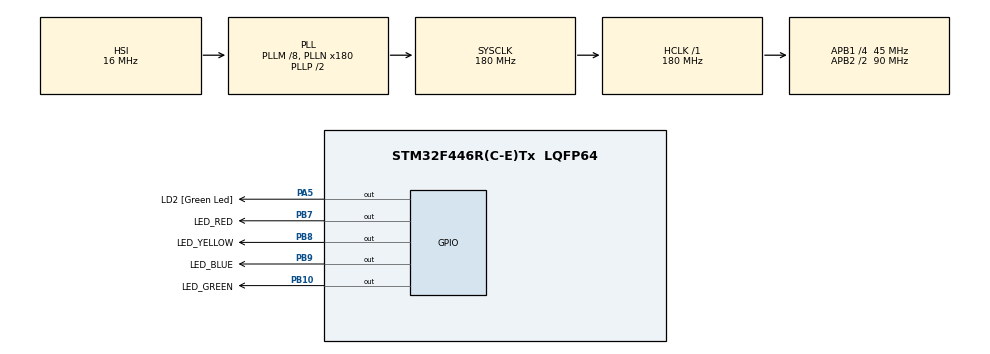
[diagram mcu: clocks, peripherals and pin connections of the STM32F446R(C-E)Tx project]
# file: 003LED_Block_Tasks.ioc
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Mcu.Family=STM32F4
VP_SYS_VS_tim6.Mode=TIM6
PH0-OSC_IN.Signal=RCC_OSC_IN
RCC.CortexFreq_Value=180000000
PB9.GPIO_Label=LED_BLUE
NVIC.TIM6_DAC_IRQn=true\:0\:0\:false\:false\:true\:false\:true
PA14.GPIO_Label=TCK
RCC.APB1CLKDivider=RCC_HCLK_DIV4
PC14-OSC32_IN.Signal=RCC_OSC32_IN
RCC.SYSCLKSource=RCC_SYSCLKSOURCE_PLLCLK
ProjectManager.StackSize=0x400
PA13.Signal=SYS_JTMS-SWDIO
PB8.GPIO_Label=LED_YELLOW
ProjectManager.TargetToolchain=STM32CubeIDE
PB10.GPIO_Label=LED_GREEN
RCC.HCLKFreq_Value=180000000
RCC.APB2TimFreq_Value=180000000
RCC.USBFreq_Value=180000000
RCC.LSE_VALUE=32768
PC15-OSC32_OUT.Signal=RCC_OSC32_OUT
RCC.AHBFreq_Value=180000000
PB10.Signal=GPIO_Output
PA5.Signal=GPIO_Output
RCC.HSE_VALUE=8000000
board=NUCLEO-F446RE
RCC.VCOOutputFreq_Value=360000000
RCC.APB2Freq_Value=90000000
PH1-OSC_OUT.Signal=RCC_OSC_OUT
PB7.Signal=GPIO_Output
Mcu.Name=STM32F446R(C-E)Tx
PA2.Signal=USART2_TX
PA13.GPIO_Label=TMS
RCC.FLatency-AdvancedSettings=FLASH_LATENCY_5
PB7.GPIO_Label=LED_RED
PB3.Signal=SYS_JTDO-SWO
RCC.SYSCLKFreq_VALUE=180000000
Mcu.Package=LQFP64
PB9.Signal=GPIO_Output
NVIC.TimeBase=TIM6_DAC_IRQn
PA5.GPIO_Label=LD2 [Green Led]
PA2.GPIO_Label=USART_TX
NVIC.TimeBaseIP=TIM6
PA14.Signal=SYS_JTCK-SWCLK
ProjectManager.HeapSize=0x200
RCC.HSI_VALUE=16000000
NVIC.PriorityGroup=NVIC_PRIORITYGROUP_4
RCC.APB2CLKDivider=RCC_HCLK_DIV2
RCC.PLLM=8
RCC.PLLN=180
RCC.APB1TimFreq_Value=90000000
PB8.Signal=GPIO_Output
RCC.APB1Freq_Value=45000000
PA3.GPIO_Label=USART_RX
PA3.Signal=USART2_RX
PB3.GPIO_Label=SWO

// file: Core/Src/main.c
/* USER CODE BEGIN Header */
/**
  ******************************************************************************
  * @file           : main.c
  * @brief          : Main program body
  ******************************************************************************
  * @attention
  *
  * <h2><center>&copy; Copyright (c) 2021 STMicroelectronics.
  * All rights reserved.</center></h2>
  *
  * This software component is licensed by ST under BSD 3-Clause license,
  * the "License"; You may not use this file except in compliance with the
  * License. You may obtain a copy of the License at:
  *                        opensource.org/licenses/BSD-3-Clause
  *
  ******************************************************************************
  */
/* USER CODE END Header */
#include "main.h"

/* USER CODE BEGIN Includes */
#include "FreeRTOS.h"
#include "task.h"
/* USER CODE END Includes */

/* USER CODE BEGIN PV */
#define DWT_CTRL    (*(volatile uint32_t*)0xE0001000)
/* USER CODE END PV */

void SystemClock_Config(void);
static void MX_GPIO_Init(void);
/* USER CODE BEGIN PFP */
static void led_red_handler(void* parameters);
static void led_yellow_handler(void* parameters);
static void led_blue_handler(void* parameters);
static void led_green_handler(void* parameters);

extern void SEGGER_UART_init(uint32_t);
/* USER CODE END PFP */

int main(void)
{
  /* USER CODE BEGIN 1 */
	TaskHandle_t ledr_task_handle;
	TaskHandle_t ledy_task_handle;
	TaskHandle_t ledb_task_handle;
	TaskHandle_t ledg_task_handle;
	BaseType_t status;
  /* USER CODE END 1 */

  /* MCU Configuration--------------------------------------------------------*/

  /* Reset of all peripherals, Initializes the Flash interface and the Systick. */
  HAL_Init();

  /* Configure the system clock */
  SystemClock_Config();

  /* Initialize all configured peripherals */
  MX_GPIO_Init();

  /* USER CODE BEGIN 2 */
  SEGGER_UART_init(500000);

  //CYCLCNT enable
  DWT_CTRL |= ( 1 << 0);

  SEGGER_SYSVIEW_Conf();
  //SEGGER_SYSVIEW_Start(); //comment out if using UART based continuous recording

  //Create Task 1: Red LED
  status = xTaskCreate(led_red_handler, "LED_RED_TASK", 200, NULL, 2, &ledr_task_handle);
  configASSERT(status == pdPASS);

  //Create Task 2: Yellow LED
  status = xTaskCreate(led_yellow_handler, "LED_YELLOW_TASK", 200, NULL, 2, &ledy_task_handle);
  configASSERT(status == pdPASS);

  //Create Task 3: Blue LED
  status = xTaskCreate(led_blue_handler, "LED_BLUE_TASK", 200, NULL, 2, &ledb_task_handle);
  configASSERT(status == pdPASS);

  //Create Task 4: Green LED
  status = xTaskCreate(led_green_handler, "LED_GREEN_TASK", 200, NULL, 2, &ledg_task_handle);
  configASSERT(status == pdPASS);

  //start the freeRTOS scheduler
  vTaskStartScheduler();

  /* USER CODE END 2 */

  /* Infinite loop */
  while (1)
  {

  }
}

void SystemClock_Config(void)
{
  RCC_OscInitTypeDef RCC_OscInitStruct = {0};
  RCC_ClkInitTypeDef RCC_ClkInitStruct = {0};

  /** Configure the main internal regulator output voltage
  */
  __HAL_RCC_PWR_CLK_ENABLE();
  __HAL_PWR_VOLTAGESCALING_CONFIG(PWR_REGULATOR_VOLTAGE_SCALE1);
  /** Initializes the RCC Oscillators according to the specified parameters
  * in the RCC_OscInitTypeDef structure.
  */
  RCC_OscInitStruct.OscillatorType = RCC_OSCILLATORTYPE_HSI;
  RCC_OscInitStruct.HSIState = RCC_HSI_ON;
  RCC_OscInitStruct.HSICalibrationValue = RCC_HSICALIBRATION_DEFAULT;
  RCC_OscInitStruct.PLL.PLLState = RCC_PLL_ON;
  RCC_OscInitStruct.PLL.PLLSource = RCC_PLLSOURCE_HSI;
  RCC_OscInitStruct.PLL.PLLM = 8;
  RCC_OscInitStruct.PLL.PLLN = 180;
  RCC_OscInitStruct.PLL.PLLP = RCC_PLLP_DIV2;
  RCC_OscInitStruct.PLL.PLLQ = 2;
  RCC_OscInitStruct.PLL.PLLR = 2;
  if (HAL_RCC_OscConfig(&RCC_OscInitStruct) != HAL_OK)
  {
    Error_Handler();
  }
  /** Activate the Over-Drive mode
  */
  if (HAL_PWREx_EnableOverDrive() != HAL_OK)
  {
    Error_Handler();
  }
  /** Initializes the CPU, AHB and APB buses clocks
  */
  RCC_ClkInitStruct.ClockType = RCC_CLOCKTYPE_HCLK|RCC_CLOCKTYPE_SYSCLK
                              |RCC_CLOCKTYPE_PCLK1|RCC_CLOCKTYPE_PCLK2;
  RCC_ClkInitStruct.SYSCLKSource = RCC_SYSCLKSOURCE_PLLCLK;
  RCC_ClkInitStruct.AHBCLKDivider = RCC_SYSCLK_DIV1;
  RCC_ClkInitStruct.APB1CLKDivider = RCC_HCLK_DIV4;
  RCC_ClkInitStruct.APB2CLKDivider = RCC_HCLK_DIV2;

  if (HAL_RCC_ClockConfig(&RCC_ClkInitStruct, FLASH_LATENCY_5) != HAL_OK)
  {
    Error_Handler();
  }
}

static void MX_GPIO_Init(void)
{
  GPIO_InitTypeDef GPIO_InitStruct = {0};

  /* GPIO Ports Clock Enable */
  __HAL_RCC_GPIOC_CLK_ENABLE();
  __HAL_RCC_GPIOH_CLK_ENABLE();
  __HAL_RCC_GPIOA_CLK_ENABLE();
  __HAL_RCC_GPIOB_CLK_ENABLE();

  /*Configure GPIO pin Output Level */
  HAL_GPIO_WritePin(LD2_GPIO_Port, LD2_Pin, GPIO_PIN_RESET);

  /*Configure GPIO pin Output Level */
  HAL_GPIO_WritePin(GPIOB, LED_GREEN_Pin|LED_RED_Pin|LED_YELLOW_Pin|LED_BLUE_Pin, GPIO_PIN_RESET);

  /*Configure GPIO pins : USART_TX_Pin USART_RX_Pin */
  GPIO_InitStruct.Pin = USART_TX_Pin|USART_RX_Pin;
  GPIO_InitStruct.Mode = GPIO_MODE_AF_PP;
  GPIO_InitStruct.Pull = GPIO_NOPULL;
  GPIO_InitStruct.Speed = GPIO_SPEED_FREQ_VERY_HIGH;
  GPIO_InitStruct.Alternate = GPIO_AF7_USART2;
  HAL_GPIO_Init(GPIOA, &GPIO_InitStruct);

  /*Configure GPIO pin : LD2_Pin */
  GPIO_InitStruct.Pin = LD2_Pin;
  GPIO_InitStruct.Mode = GPIO_MODE_OUTPUT_PP;
  GPIO_InitStruct.Pull = GPIO_NOPULL;
  GPIO_InitStruct.Speed = GPIO_SPEED_FREQ_LOW;
  HAL_GPIO_Init(LD2_GPIO_Port, &GPIO_InitStruct);

  /*Configure GPIO pins : LED_GREEN_Pin LED_RED_Pin LED_YELLOW_Pin LED_BLUE_Pin */
  GPIO_InitStruct.Pin = LED_GREEN_Pin|LED_RED_Pin|LED_YELLOW_Pin|LED_BLUE_Pin;
  GPIO_InitStruct.Mode = GPIO_MODE_OUTPUT_PP;
  GPIO_InitStruct.Pull = GPIO_NOPULL;
  GPIO_InitStruct.Speed = GPIO_SPEED_FREQ_LOW;
  HAL_GPIO_Init(GPIOB, &GPIO_InitStruct);

}

/* USER CODE BEGIN 4 */
static void led_red_handler(void* parameters) {

	while(1) {
		SEGGER_SYSVIEW_PrintfTarget("Toggling Red LED");
		HAL_GPIO_TogglePin(LED_RED_GPIO_Port, LED_RED_Pin);
		//HAL_Delay(1000);
		vTaskDelay(pdMS_TO_TICKS(1000));
	}
}

static void led_yellow_handler(void* parameters) {

	while(1) {
		SEGGER_SYSVIEW_PrintfTarget("Toggling Yellow LED");
		HAL_GPIO_TogglePin(LED_YELLOW_GPIO_Port, LED_YELLOW_Pin);
		//HAL_Delay(800);
		vTaskDelay(pdMS_TO_TICKS(800));
	}
}

static void led_blue_handler(void* parameters) {

	while(1) {
		SEGGER_SYSVIEW_PrintfTarget("Toggling Blue LED");
		HAL_GPIO_TogglePin(LED_BLUE_GPIO_Port, LED_BLUE_Pin);
		//HAL_Delay(600);
		vTaskDelay(pdMS_TO_TICKS(600));
	}
}

static void led_green_handler(void* parameters) {

	while(1) {
		SEGGER_SYSVIEW_PrintfTarget("Toggling Green LED");
		HAL_GPIO_TogglePin(LED_GREEN_GPIO_Port, LED_GREEN_Pin);
		//HAL_Delay(400);
		vTaskDelay(pdMS_TO_TICKS(400));
	}
}

void vApplicationIdleHook( void )
{
	HAL_PWR_EnterSLEEPMode(PWR_MAINREGULATOR_ON, PWR_SLEEPENTRY_WFI);

}
/* USER CODE END 4 */

 /**
  * @brief  Period elapsed callback in non blocking mode
  * @note   This function is called  when TIM6 interrupt took place, inside
  * HAL_TIM_IRQHandler(). It makes a direct call to HAL_IncTick() to increment
  * a global variable "uwTick" used as application time base.
  * @param  htim : TIM handle
  * @retval None
  */
void HAL_TIM_PeriodElapsedCallback(TIM_HandleTypeDef *htim)
{
  if (htim->Instance == TIM6) {
    HAL_IncTick();
  }
}

void Error_Handler(void)
{
  __disable_irq();
  while (1)
  {
  }
}

/************************ (C) COPYRIGHT STMicroelectronics *****END OF FILE****/
